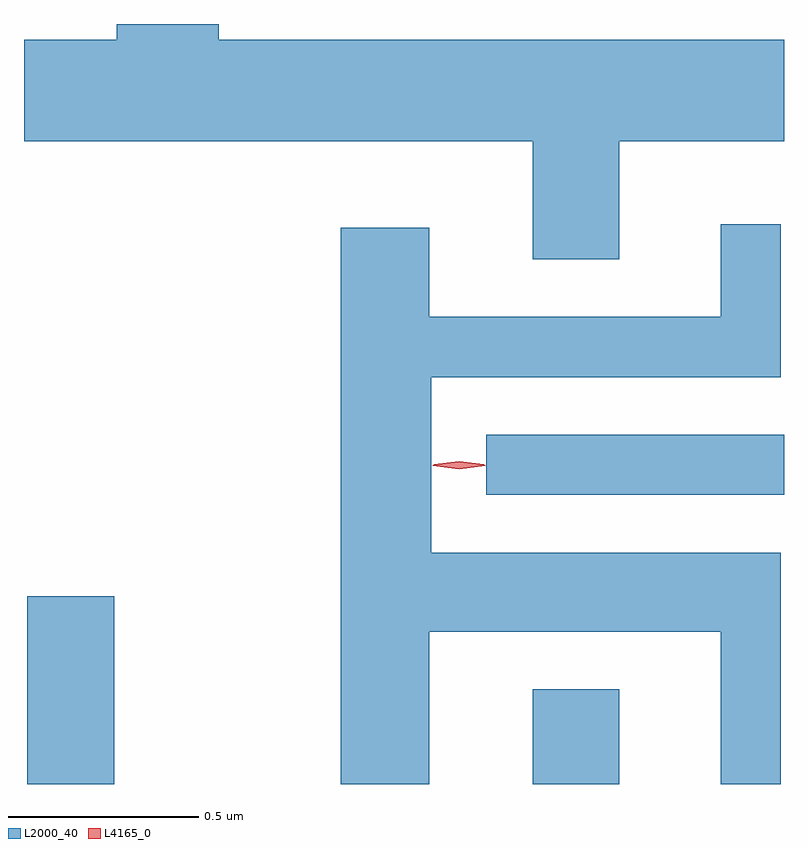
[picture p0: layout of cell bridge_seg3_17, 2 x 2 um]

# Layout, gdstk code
import gdstk
lib = gdstk.Library(unit=1e-6, precision=1e-09)
def R(c, l, rs):  # rectangles x0, y0, x1, y1
    for r in rs: c.add(gdstk.rectangle(r[:2], r[2:], *l))
def P(c, l, *ps):  # polygons
    for p in ps: c.add(gdstk.Polygon(p, *l))
L2000_40 = (2000, 40)
L4165_0 = (4165, 0)

bridge_seg3_17 = lib.new_cell('bridge_seg3_17')
R(bridge_seg3_17, L2000_40, [(1653.401,1164.285,1653.629,1164.779), (1654.731,1164.285,1654.959,1164.534), (1654.608,1165.046,1655.392,1165.204)])
P(bridge_seg3_17, L2000_40, [(1654.959,1165.976),(1655.392,1165.976),(1655.392,1166.244),(1653.904,1166.244),(1653.904,1166.285),(1653.636,1166.285),(1653.636,1166.244),(1653.392,1166.244),(1653.392,1165.976),(1654.731,1165.976),(1654.731,1165.666),(1654.959,1165.666)],
  [(1654.459,1164.686),(1655.226,1164.686),(1655.226,1164.285),(1655.384,1164.285),(1655.384,1164.894),(1654.464,1164.894),(1654.464,1165.356),(1655.384,1165.356),(1655.384,1165.758),(1655.226,1165.758),(1655.226,1165.514),(1654.459,1165.514),(1654.459,1165.749),(1654.226,1165.749),(1654.226,1164.285),(1654.459,1164.285)])
P(bridge_seg3_17, L4165_0, [(1654.537,1165.115),(1654.471,1165.124),(1654.47,1165.125),(1654.471,1165.126),(1654.537,1165.135),(1654.602,1165.126),(1654.603,1165.125),(1654.602,1165.124)],
  [(1654.537,1165.113),(1654.468,1165.123),(1654.467,1165.123),(1654.468,1165.124),(1654.537,1165.133),(1654.606,1165.124),(1654.606,1165.123),(1654.606,1165.123)])

lib.write_gds('bridge_seg3_17.gds')
